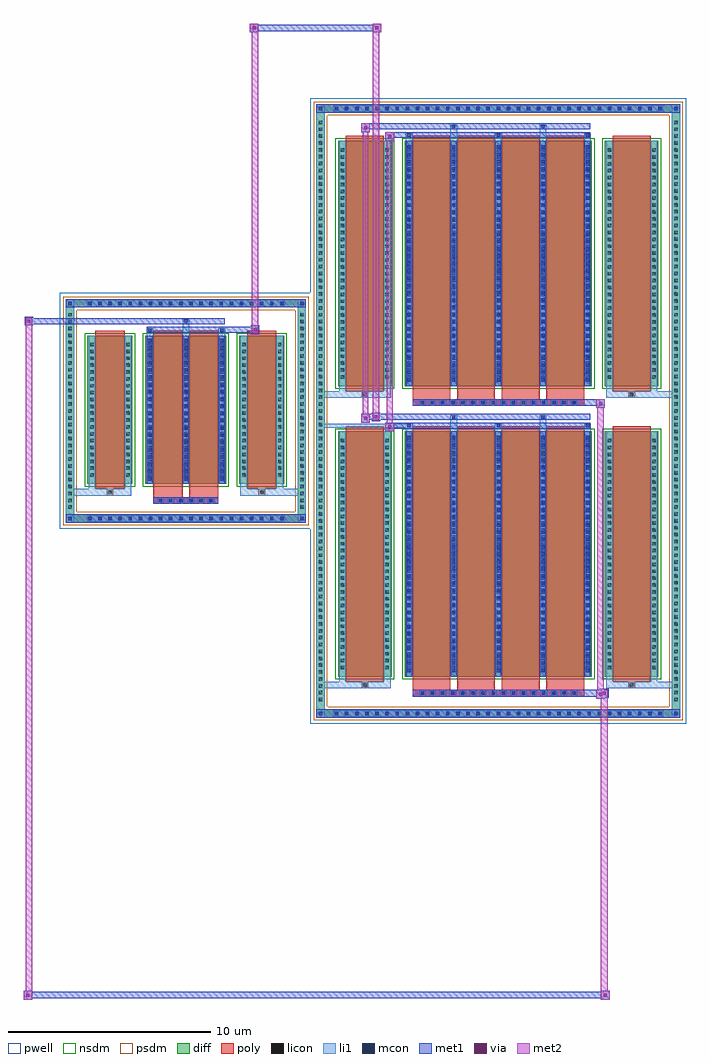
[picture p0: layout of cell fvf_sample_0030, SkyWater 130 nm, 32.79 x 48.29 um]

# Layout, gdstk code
import gdstk
lib = gdstk.Library(unit=1e-6, precision=1e-09)
def R(c, l, rs):  # rectangles x0, y0, x1, y1
    for r in rs: c.add(gdstk.rectangle(r[:2], r[2:], *l))
def A(c, l, x, y, w, h, nx, ny, dx, dy):  # array of equal rectangles
    R(c, l, [(x+i*dx, y+j*dy, x+i*dx+w, y+j*dy+h) for i in range(nx) for j in range(ny)])
def P(c, l, *ps):  # polygons
    for p in ps: c.add(gdstk.Polygon(p, *l))
pwell = (64, 44)
diff = (65, 20)
poly = (66, 20)
licon = (66, 44)
li1 = (67, 20)
mcon = (67, 44)
met1 = (68, 20)
via = (68, 44)
met2 = (69, 20)
nsdm = (93, 44)
psdm = (94, 20)

fvf_sample_0030 = lib.new_cell('fvf_sample_0030')
R(fvf_sample_0030, pwell, [(6.152,-15.481,24.766,15.481), (-6.252,-5.84,6.252,5.84)])
A(fvf_sample_0030, diff, 7.254, -15.171, 0.41, 0.41, 33, 2, 0.5, 29.932)
A(fvf_sample_0030, diff, 6.462, -14.485, 0.41, 0.41, 1, 85, 0, 0.34)
A(fvf_sample_0030, diff, 24.046, -14.485, 0.41, 0.41, 1, 85, 0, 0.34)
A(fvf_sample_0030, diff, -4.955, -5.53, 0.41, 0.41, 20, 2, 0.5, 10.65)
A(fvf_sample_0030, diff, -5.942, -4.965, 0.41, 0.41, 1, 29, 0, 0.34)
A(fvf_sample_0030, diff, 5.532, -4.965, 0.41, 0.41, 1, 29, 0, 0.34)
R(fvf_sample_0030, diff, [(7.254,-15.171,23.664,-14.761), (6.462,-14.485,6.872,14.485), (24.046,-14.485,24.456,14.485), (7.532,-13.15,10.186,-1.014), (10.826,-13.15,20.092,-1.014), (20.732,-13.15,23.386,-1.014), (-4.955,-5.53,4.955,-5.12), (-5.942,-4.965,-5.532,4.965), (5.532,-4.965,5.942,4.965), (-4.871,-3.609,-2.643,3.725), (-2.003,-3.609,2.003,3.725), (2.643,-3.609,4.871,3.725), (7.532,1.23,10.186,13.366), (10.826,1.23,20.092,13.366), (20.732,1.23,23.386,13.366), (-4.955,5.12,4.955,5.53), (7.254,14.761,23.664,15.171)])
P(fvf_sample_0030, diff, [(5.942,5.53),(-5.942,5.53),(-5.942,-5.12),(-5.532,-5.12),(-5.532,5.12),(5.532,5.12),(5.532,-5.12),(-5.532,-5.12),(-5.942,-5.12),(-5.942,-5.53),(5.942,-5.53)],
  [(24.456,15.171),(6.462,15.171),(6.462,-14.761),(6.872,-14.761),(6.872,14.761),(24.046,14.761),(24.046,-14.761),(6.872,-14.761),(6.462,-14.761),(6.462,-15.171),(24.456,-15.171)])
A(fvf_sample_0030, poly, 11.544, -14.13, 0.33, 0.33, 16, 2, 0.5, 14.38)
A(fvf_sample_0030, poly, 11.216, -13.8, 1.874, 0.4, 4, 2, 2.204, 14.38)
A(fvf_sample_0030, poly, 11.216, -13.4, 1.874, 12.636, 4, 2, 2.204, 14.38)
A(fvf_sample_0030, poly, -1.415, -4.59, 0.33, 0.33, 6, 1, 0.5, 0)
R(fvf_sample_0030, poly, [(11.216,-14.13,19.702,-13.8), (8.694,-13.73,9.024,-13.4), (8.694,-13.73,9.024,-13.4), (21.894,-13.73,22.224,-13.4), (21.894,-13.73,22.224,-13.4), (7.922,-13.4,9.796,-0.764), (21.122,-13.4,22.996,-0.764), (-1.613,-4.59,1.613,-4.26), (-1.613,-4.26,-0.165,-3.859), (0.165,-4.26,1.613,-3.859), (-3.922,-4.189,-3.592,-3.859), (-3.922,-4.189,-3.592,-3.859), (3.592,-4.189,3.922,-3.859), (3.592,-4.189,3.922,-3.859), (-4.481,-3.859,-3.033,3.975), (-1.613,-3.859,-0.165,3.975), (0.165,-3.859,1.613,3.975), (3.033,-3.859,4.481,3.975), (11.216,0.25,19.702,0.58), (8.694,0.65,9.024,0.98), (8.694,0.65,9.024,0.98), (21.894,0.65,22.224,0.98), (21.894,0.65,22.224,0.98), (7.922,0.98,9.796,13.616), (21.122,0.98,22.996,13.616)])
A(fvf_sample_0030, licon, 7.374, -15.051, 0.17, 0.17, 33, 2, 0.5, 29.932)
A(fvf_sample_0030, licon, 6.582, -14.365, 0.17, 0.17, 1, 85, 0, 0.34)
A(fvf_sample_0030, licon, 24.166, -14.365, 0.17, 0.17, 1, 85, 0, 0.34)
A(fvf_sample_0030, licon, 11.624, -14.05, 0.17, 0.17, 16, 2, 0.5, 14.38)
A(fvf_sample_0030, licon, 7.672, -12.777, 0.17, 0.17, 1, 34, 0, 0.34)
A(fvf_sample_0030, licon, 9.876, -12.777, 0.17, 0.17, 1, 34, 0, 0.34)
A(fvf_sample_0030, licon, 10.966, -12.777, 0.17, 0.17, 5, 34, 2.204, 0.34)
A(fvf_sample_0030, licon, 20.872, -12.777, 0.17, 0.17, 1, 34, 0, 0.34)
A(fvf_sample_0030, licon, 23.076, -12.777, 0.17, 0.17, 1, 34, 0, 0.34)
A(fvf_sample_0030, licon, -4.835, -5.41, 0.17, 0.17, 20, 2, 0.5, 10.65)
A(fvf_sample_0030, licon, -5.822, -4.845, 0.17, 0.17, 1, 29, 0, 0.34)
A(fvf_sample_0030, licon, 5.652, -4.845, 0.17, 0.17, 1, 29, 0, 0.34)
A(fvf_sample_0030, licon, -1.335, -4.51, 0.17, 0.17, 6, 1, 0.5, 0)
A(fvf_sample_0030, licon, -4.731, -3.257, 0.17, 0.17, 1, 20, 0, 0.34)
A(fvf_sample_0030, licon, -2.953, -3.257, 0.17, 0.17, 1, 20, 0, 0.34)
A(fvf_sample_0030, licon, -1.863, -3.257, 0.17, 0.17, 3, 20, 1.778, 0.34)
A(fvf_sample_0030, licon, 2.783, -3.257, 0.17, 0.17, 1, 20, 0, 0.34)
A(fvf_sample_0030, licon, 4.561, -3.257, 0.17, 0.17, 1, 20, 0, 0.34)
A(fvf_sample_0030, licon, 7.672, 1.603, 0.17, 0.17, 1, 34, 0, 0.34)
A(fvf_sample_0030, licon, 9.876, 1.603, 0.17, 0.17, 1, 34, 0, 0.34)
A(fvf_sample_0030, licon, 10.966, 1.603, 0.17, 0.17, 5, 34, 2.204, 0.34)
A(fvf_sample_0030, licon, 20.872, 1.603, 0.17, 0.17, 1, 34, 0, 0.34)
A(fvf_sample_0030, licon, 23.076, 1.603, 0.17, 0.17, 1, 34, 0, 0.34)
R(fvf_sample_0030, licon, [(8.774,-13.65,8.944,-13.48), (21.974,-13.65,22.144,-13.48), (-3.842,-4.109,-3.672,-3.939), (3.672,-4.109,3.842,-3.939), (8.774,0.73,8.944,0.9), (21.974,0.73,22.144,0.9)])
A(fvf_sample_0030, li1, 7.294, -15.131, 0.33, 0.33, 33, 2, 0.5, 29.932)
A(fvf_sample_0030, li1, 6.502, -14.445, 0.33, 0.33, 1, 85, 0, 0.34)
A(fvf_sample_0030, li1, 24.086, -14.445, 0.33, 0.33, 1, 85, 0, 0.34)
A(fvf_sample_0030, li1, 11.544, -14.13, 0.33, 0.33, 16, 2, 0.5, 14.38)
A(fvf_sample_0030, li1, 10.886, -13.15, 0.33, 12.136, 5, 2, 2.204, 14.38)
A(fvf_sample_0030, li1, 10.966, -12.927, 0.17, 0.17, 5, 33, 2.204, 0.36)
A(fvf_sample_0030, li1, 10.966, -12.927, 0.17, 11.69, 5, 2, 2.204, 14.38)
A(fvf_sample_0030, li1, 7.592, -12.857, 0.33, 0.33, 1, 34, 0, 0.34)
A(fvf_sample_0030, li1, 9.796, -12.857, 0.33, 0.33, 1, 34, 0, 0.34)
A(fvf_sample_0030, li1, 10.886, -12.857, 0.33, 0.33, 5, 34, 2.204, 0.34)
A(fvf_sample_0030, li1, 20.792, -12.857, 0.33, 0.33, 1, 34, 0, 0.34)
A(fvf_sample_0030, li1, 22.996, -12.857, 0.33, 0.33, 1, 34, 0, 0.34)
A(fvf_sample_0030, li1, -4.915, -5.49, 0.33, 0.33, 20, 2, 0.5, 10.65)
A(fvf_sample_0030, li1, -5.902, -4.925, 0.33, 0.33, 1, 29, 0, 0.34)
A(fvf_sample_0030, li1, 5.572, -4.925, 0.33, 0.33, 1, 29, 0, 0.34)
A(fvf_sample_0030, li1, -1.415, -4.59, 0.33, 0.33, 6, 1, 0.5, 0)
A(fvf_sample_0030, li1, -1.943, -3.609, 0.33, 7.334, 3, 1, 1.778, 0)
A(fvf_sample_0030, li1, -1.863, -3.447, 0.17, 0.17, 3, 20, 1.778, 0.36)
A(fvf_sample_0030, li1, -1.863, -3.447, 0.17, 7.01, 3, 1, 1.778, 0)
A(fvf_sample_0030, li1, -4.811, -3.337, 0.33, 0.33, 1, 20, 0, 0.34)
A(fvf_sample_0030, li1, -3.033, -3.337, 0.33, 0.33, 1, 20, 0, 0.34)
A(fvf_sample_0030, li1, -1.943, -3.337, 0.33, 0.33, 3, 20, 1.778, 0.34)
A(fvf_sample_0030, li1, 2.703, -3.337, 0.33, 0.33, 1, 20, 0, 0.34)
A(fvf_sample_0030, li1, 4.481, -3.337, 0.33, 0.33, 1, 20, 0, 0.34)
A(fvf_sample_0030, li1, 10.886, -1.014, 0.33, 0.375, 3, 2, 4.408, 14.38)
A(fvf_sample_0030, li1, 10.966, -0.809, 0.17, 0.17, 3, 2, 4.408, 14.38)
A(fvf_sample_0030, li1, 10.966, 1.453, 0.17, 0.17, 5, 33, 2.204, 0.36)
A(fvf_sample_0030, li1, 7.592, 1.523, 0.33, 0.33, 1, 34, 0, 0.34)
A(fvf_sample_0030, li1, 9.796, 1.523, 0.33, 0.33, 1, 34, 0, 0.34)
A(fvf_sample_0030, li1, 10.886, 1.523, 0.33, 0.33, 5, 34, 2.204, 0.34)
A(fvf_sample_0030, li1, 20.792, 1.523, 0.33, 0.33, 1, 34, 0, 0.34)
A(fvf_sample_0030, li1, 22.996, 1.523, 0.33, 0.33, 1, 34, 0, 0.34)
R(fvf_sample_0030, li1, [(6.462,-15.171,6.872,-14.761), (24.046,-15.171,24.456,-14.761), (7.294,-15.131,23.624,-14.801), (6.582,-15.051,6.752,-14.881), (6.582,-15.051,6.752,-14.881), (24.166,-15.051,24.336,-14.881), (24.166,-15.051,24.336,-14.881), (6.462,-14.761,6.872,14.761), (24.046,-14.761,24.456,14.761), (6.462,-13.73,8.694,-13.4), (7.592,-13.73,7.922,-13.15), (7.592,-13.73,8.694,-13.4), (8.694,-13.73,9.024,-13.4), (9.024,-13.73,10.126,-13.4), (9.796,-13.73,10.126,-13.15), (20.792,-13.73,21.122,-13.15), (20.792,-13.73,21.894,-13.4), (21.894,-13.73,22.224,-13.4), (21.894,-13.73,24.456,-13.4), (22.224,-13.73,23.326,-13.4), (22.996,-13.73,23.326,-13.15), (7.592,-13.15,7.922,-1.014), (9.796,-13.15,10.126,-1.014), (20.792,-13.15,21.122,-1.014), (22.996,-13.15,23.326,-1.014), (-5.942,-5.53,-5.532,-5.12), (5.532,-5.53,5.942,-5.12), (-4.915,-5.49,4.915,-5.16), (-5.822,-5.41,-5.652,-5.24), (-5.822,-5.41,-5.652,-5.24), (5.652,-5.41,5.822,-5.24), (5.652,-5.41,5.822,-5.24), (-5.942,-5.12,-5.532,5.12), (5.532,-5.12,5.942,5.12), (-5.942,-4.189,-3.922,-3.859), (-4.811,-4.189,-3.922,-3.859), (-4.811,-4.189,-4.481,-3.609), (-3.922,-4.189,-3.592,-3.859), (-3.592,-4.189,-2.703,-3.859), (-3.033,-4.189,-2.703,-3.609), (2.703,-4.189,3.592,-3.859), (2.703,-4.189,3.033,-3.609), (3.592,-4.189,3.922,-3.859), (3.592,-4.189,5.942,-3.859), (3.922,-4.189,4.811,-3.859), (4.481,-4.189,4.811,-3.609), (-4.811,-3.609,-4.481,3.725), (-3.033,-3.609,-2.703,3.725), (2.703,-3.609,3.033,3.725), (4.481,-3.609,4.811,3.725), (13.09,-1.014,13.42,-0.209), (17.498,-1.014,17.828,-0.209), (10.906,-0.869,11.196,-0.579), (6.462,-0.824,10.906,-0.624), (10.966,-0.809,11.136,-0.639), (13.17,-0.379,13.34,-0.209), (17.578,-0.379,17.748,-0.209), (6.462,0.65,8.694,0.98), (7.592,0.65,7.922,1.23), (7.592,0.65,8.694,0.98), (8.694,0.65,9.024,0.98), (9.024,0.65,10.126,0.98), (9.796,0.65,10.126,1.23), (20.792,0.65,21.122,1.23), (20.792,0.65,21.894,0.98), (21.894,0.65,22.224,0.98), (21.894,0.65,24.456,0.98), (22.224,0.65,23.326,0.98), (22.996,0.65,23.326,1.23), (7.592,1.23,7.922,13.366), (9.796,1.23,10.126,13.366), (20.792,1.23,21.122,13.366), (22.996,1.23,23.326,13.366), (-1.943,3.725,-1.613,4.1), (-0.165,3.725,0.165,4.53), (1.613,3.725,1.943,4.1), (-1.863,3.93,-1.693,4.1), (1.693,3.93,1.863,4.1), (-0.085,4.36,0.085,4.53), (-5.942,5.12,-5.532,5.53), (5.532,5.12,5.942,5.53), (-4.915,5.16,4.915,5.49), (-5.822,5.24,-5.652,5.41), (-5.822,5.24,-5.652,5.41), (5.652,5.24,5.822,5.41), (5.652,5.24,5.822,5.41), (13.09,13.366,13.42,14.171), (17.498,13.366,17.828,14.171), (13.17,14.001,13.34,14.171), (17.578,14.001,17.748,14.171), (6.462,14.761,6.872,15.171), (24.046,14.761,24.456,15.171), (7.294,14.801,23.624,15.131), (6.582,14.881,6.752,15.051), (6.582,14.881,6.752,15.051), (24.166,14.881,24.336,15.051), (24.166,14.881,24.336,15.051)])
A(fvf_sample_0030, mcon, 7.374, -15.051, 0.17, 0.17, 33, 2, 0.5, 29.932)
A(fvf_sample_0030, mcon, 11.624, -14.05, 0.17, 0.17, 16, 2, 0.5, 14.38)
A(fvf_sample_0030, mcon, 10.966, -12.927, 0.17, 0.17, 5, 33, 2.204, 0.36)
A(fvf_sample_0030, mcon, -4.835, -5.41, 0.17, 0.17, 20, 2, 0.5, 10.65)
A(fvf_sample_0030, mcon, -1.335, -4.51, 0.17, 0.17, 6, 1, 0.5, 0)
A(fvf_sample_0030, mcon, -1.863, -3.447, 0.17, 0.17, 3, 20, 1.778, 0.36)
A(fvf_sample_0030, mcon, 10.966, -0.809, 0.17, 0.17, 3, 2, 4.408, 14.38)
A(fvf_sample_0030, mcon, 10.966, 1.453, 0.17, 0.17, 5, 33, 2.204, 0.36)
R(fvf_sample_0030, mcon, [(6.582,-15.051,6.752,-14.881), (24.166,-15.051,24.336,-14.881), (-5.822,-5.41,-5.652,-5.24), (5.652,-5.41,5.822,-5.24), (10.966,-0.809,11.136,-0.639), (13.17,-0.379,13.34,-0.209), (17.578,-0.379,17.748,-0.209), (-1.863,3.93,-1.693,4.1), (1.693,3.93,1.863,4.1), (-0.085,4.36,0.085,4.53), (-5.822,5.24,-5.652,5.41), (5.652,5.24,5.822,5.41), (13.17,14.001,13.34,14.171), (17.578,14.001,17.748,14.171), (6.582,14.881,6.752,15.051), (24.166,14.881,24.336,15.051)])
A(fvf_sample_0030, met1, 7.314, -15.111, 0.29, 0.29, 33, 2, 0.5, 29.932)
A(fvf_sample_0030, met1, 11.564, -14.11, 0.29, 0.29, 16, 2, 0.5, 14.38)
A(fvf_sample_0030, met1, 10.906, -13.15, 0.29, 12.136, 5, 2, 2.204, 14.38)
A(fvf_sample_0030, met1, 10.906, -12.987, 0.29, 0.29, 5, 33, 2.204, 0.36)
A(fvf_sample_0030, met1, -4.895, -5.47, 0.29, 0.29, 20, 2, 0.5, 10.65)
A(fvf_sample_0030, met1, -1.395, -4.57, 0.29, 0.29, 6, 1, 0.5, 0)
A(fvf_sample_0030, met1, -1.923, -3.609, 0.29, 7.334, 3, 1, 1.778, 0)
A(fvf_sample_0030, met1, -1.923, -3.507, 0.29, 0.29, 3, 20, 1.778, 0.36)
A(fvf_sample_0030, met1, 10.906, -0.869, 0.29, 0.29, 3, 2, 4.408, 14.38)
A(fvf_sample_0030, met1, 10.906, 1.393, 0.29, 0.29, 5, 33, 2.204, 0.36)
R(fvf_sample_0030, met1, [(-8.028,-29.121,-7.598,-28.691), (20.537,-29.121,20.967,-28.691), (-8.028,-29.071,20.967,-28.741), (-8.028,-28.741,-7.598,-28.691), (20.537,-28.741,20.967,-28.691), (6.462,-15.171,6.872,-14.761), (6.462,-15.171,6.872,-14.761), (6.872,-15.171,24.046,-14.761), (24.046,-15.171,24.456,-14.761), (24.046,-15.171,24.456,-14.761), (6.522,-15.111,6.812,-14.821), (24.106,-15.111,24.396,-14.821), (20.302,-14.23,20.732,-13.8), (20.487,-14.18,20.917,-13.75), (11.216,-14.13,19.702,-13.8), (19.702,-14.13,20.487,-13.8), (19.702,-14.13,20.732,-13.8), (-5.942,-5.53,-5.532,-5.12), (-5.942,-5.53,-5.532,-5.12), (-5.532,-5.53,5.532,-5.12), (5.532,-5.53,5.942,-5.12), (5.532,-5.53,5.942,-5.12), (-5.882,-5.47,-5.592,-5.18), (5.592,-5.47,5.882,-5.18), (-1.613,-4.59,1.613,-4.26), (9.876,-1.009,10.306,-0.579), (9.876,-0.869,10.906,-0.579), (10.906,-0.869,11.196,-0.579), (10.906,-0.869,20.012,-0.579), (8.676,-0.579,9.106,-0.149), (9.191,-0.509,9.621,-0.079), (8.676,-0.439,10.906,-0.149), (9.621,-0.439,10.906,-0.149), (10.906,-0.439,20.012,-0.149), (13.11,-0.439,13.4,-0.149), (17.518,-0.439,17.808,-0.149), (20.302,0.15,20.732,0.58), (11.216,0.25,19.702,0.58), (19.702,0.25,20.732,0.58), (3.208,3.8,3.638,4.23), (-1.923,3.87,-1.633,4.16), (-1.923,3.87,1.923,4.16), (1.633,3.87,1.923,4.16), (1.923,3.87,3.208,4.16), (-7.978,4.23,-7.548,4.66), (-7.548,4.3,-1.923,4.59), (-1.923,4.3,1.923,4.59), (-0.145,4.3,0.145,4.59), (-5.942,5.12,-5.532,5.53), (-5.942,5.12,-5.532,5.53), (-5.532,5.12,5.532,5.53), (5.532,5.12,5.942,5.53), (5.532,5.12,5.942,5.53), (-5.882,5.18,-5.592,5.47), (5.592,5.18,5.882,5.47), (9.876,13.371,10.306,13.801), (9.876,13.511,10.906,13.801), (10.906,13.511,20.012,13.801), (8.676,13.801,9.106,14.231), (8.676,13.941,10.906,14.231), (10.906,13.941,20.012,14.231), (13.11,13.941,13.4,14.231), (17.518,13.941,17.808,14.231), (6.462,14.761,6.872,15.171), (6.462,14.761,6.872,15.171), (6.872,14.761,24.046,15.171), (24.046,14.761,24.456,15.171), (24.046,14.761,24.456,15.171), (6.522,14.821,6.812,15.111), (24.106,14.821,24.396,15.111), (3.158,18.741,3.588,19.171), (9.241,18.741,9.671,19.171), (3.158,18.791,9.671,19.121), (3.158,19.121,3.588,19.171), (9.241,19.121,9.671,19.171)])
R(fvf_sample_0030, via, [(-7.888,-28.981,-7.738,-28.831), (20.677,-28.981,20.827,-28.831), (20.442,-14.09,20.592,-13.94), (20.627,-14.04,20.777,-13.89), (10.016,-0.869,10.166,-0.719), (8.816,-0.439,8.966,-0.289), (9.331,-0.369,9.481,-0.219), (20.442,0.29,20.592,0.44), (3.348,3.94,3.498,4.09), (-7.838,4.37,-7.688,4.52), (10.016,13.511,10.166,13.661), (8.816,13.941,8.966,14.091), (3.298,18.881,3.448,19.031), (9.381,18.881,9.531,19.031)])
R(fvf_sample_0030, met2, [(-8.028,-29.121,-7.598,-28.691), (-7.928,-29.121,-7.598,4.28), (20.537,-29.121,20.967,-28.691), (20.537,-29.121,20.867,-14.13), (-7.978,-29.071,-7.648,-28.741), (20.587,-29.071,20.917,-28.741), (20.302,-14.23,20.732,-13.8), (20.352,-14.23,20.682,0.58), (20.682,-14.23,20.732,-13.8), (20.352,-14.18,20.682,-13.85), (20.537,-14.13,20.867,-13.8), (9.876,-1.009,10.306,-0.579), (9.946,-1.009,10.236,13.801), (10.236,-1.009,10.306,-0.579), (9.926,-0.959,10.256,-0.629), (8.676,-0.579,9.106,-0.149), (8.746,-0.579,9.036,14.231), (9.036,-0.579,9.106,-0.149), (8.726,-0.529,9.056,-0.199), (9.241,-0.459,9.571,-0.129), (9.241,-0.129,9.571,19.171), (20.302,0.15,20.732,0.58), (20.682,0.15,20.732,0.58), (20.352,0.2,20.682,0.53), (3.258,3.85,3.588,4.18), (3.258,4.18,3.588,19.171), (-7.928,4.28,-7.598,4.61), (9.876,13.371,10.306,13.801), (10.236,13.371,10.306,13.801), (9.926,13.421,10.256,13.751), (8.676,13.801,9.106,14.231), (9.036,13.801,9.106,14.231), (8.726,13.851,9.056,14.181), (3.158,18.741,3.588,19.171), (9.241,18.741,9.671,19.171), (3.208,18.791,3.538,19.121), (9.291,18.791,9.621,19.121)])
R(fvf_sample_0030, nsdm, [(7.402,-13.28,10.316,-0.884), (10.696,-13.28,20.222,-0.884), (20.602,-13.28,23.516,-0.884), (-5.001,-3.739,-2.513,3.855), (-2.133,-3.739,2.133,3.855), (2.513,-3.739,5.001,3.855), (7.402,1.1,10.316,13.496), (10.696,1.1,20.222,13.496), (20.602,1.1,23.516,13.496)])
P(fvf_sample_0030, psdm, [(6.072,5.66),(-6.072,5.66),(-6.072,-4.99),(-5.402,-4.99),(-5.402,4.99),(5.402,4.99),(5.402,-4.99),(-5.402,-4.99),(-6.072,-4.99),(-6.072,-5.66),(6.072,-5.66)],
  [(24.586,15.301),(6.332,15.301),(6.332,-14.631),(7.002,-14.631),(7.002,14.631),(23.916,14.631),(23.916,-14.631),(7.002,-14.631),(6.332,-14.631),(6.332,-15.301),(24.586,-15.301)])

lib.write_gds('fvf_sample_0030.gds')
